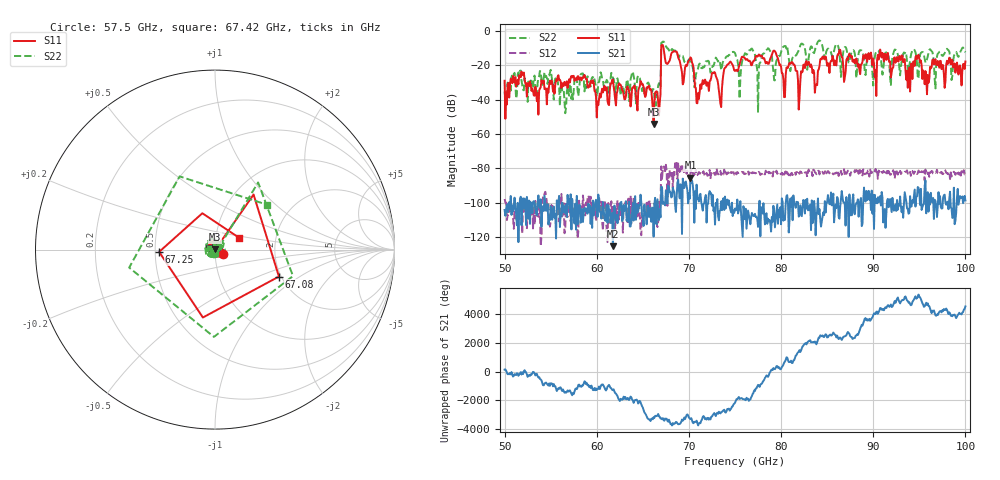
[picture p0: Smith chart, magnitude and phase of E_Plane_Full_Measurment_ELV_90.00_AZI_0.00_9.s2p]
! 11/26/2026 3:03:21 PM
! C:\ANRITSUVNA\TEMP\TEMP.S2P
! CHANNEL.1
! TR.MEASUREMENT
! RAW.DATA
# HZ S RI R 50.0
! FREQ.HZ  S11RE  S11IM  S21RE  S21IM  S12RE  S12IM  S22RE  S22IM
!; PortSelection: Port_12
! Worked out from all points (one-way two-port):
!   601 points, 50 GHz to 100 GHz, reference 50 ohm
!   highest |S21| = -85.56 dB at 70.17 GHz (marker M1); lowest = -125.4 dB at 61.75 GHz (marker M2)
!   lowest |S11| = -54.2 dB at 66.17 GHz (marker M3), VSWR 1.00, Z = 50.1 + j0.141 ohm
!   |S11| at or under -10 dB: start of sweep to 67 GHz; 67.24 GHz to end of sweep
!   |S22| runs from -48.0 to -5.6 dB; largest |S21 - S12| = 0.00016
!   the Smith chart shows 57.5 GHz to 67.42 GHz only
!   S11 on the Smith chart (normalised r, x): 57.5 GHz: 1.09, -0.05; 67.08 GHz: 1.95, -0.69; 67.25 GHz: 0.53, -0.01; 67.42 GHz: 1.29, +0.18
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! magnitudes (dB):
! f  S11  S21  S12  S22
! 50 GHz  -29.1  -104.3  -98.0  -35.5
! 57.5 GHz  -26.2  -107.6  -110.4  -34.7
! 58.42 GHz  -27.2  -103.8  -107.4  -24.9
! 60.17 GHz  -43.3  -95.3  -101.6  -30.4
! 61.75 GHz  -28.2  -125.4  -102.6  -27.6
! 66.17 GHz  -54.2  -119.8  -101.8  -34.1
! 66.67 GHz  -41.5  -103.9  -111.0  -31.6
! 67.08 GHz  -8.3  -91.1  -86.8  -6.8
! 67.25 GHz  -10.1  -99.9  -79.0  -6.2
! 67.42 GHz  -16.6  -101.6  -81.7  -8.3
! 70.17 GHz  -15.5  -85.6  -84.0  -18.6
! 70.92 GHz  -42.2  -97.9  -83.9  -23.2
! 75 GHz  -23.3  -103.5  -82.2  -13.0
! 77.58 GHz  -13.8  -104.5  -82.1  -21.7
! 78.5 GHz  -18.2  -112.4  -81.5  -10.8
! 79.33 GHz  -11.9  -114.4  -83.2  -28.8
! 80.25 GHz  -28.0  -110.5  -82.2  -9.4
! 83.42 GHz  -24.6  -111.9  -84.6  -10.8
! 91.67 GHz  -16.8  -102.7  -81.5  -15.2
! 94.83 GHz  -14.9  -90.9  -82.9  -27.8
! 95.83 GHz  -36.9  -94.6  -83.4  -16.5
! 100 GHz  -17.8  -98.7  -83.5  -12.5
